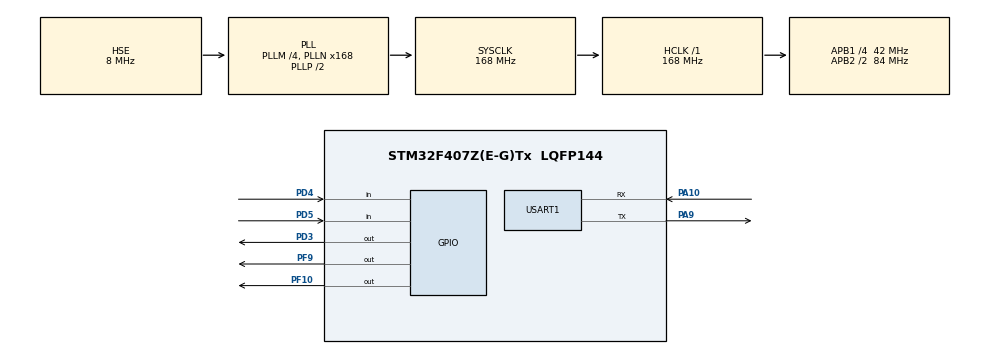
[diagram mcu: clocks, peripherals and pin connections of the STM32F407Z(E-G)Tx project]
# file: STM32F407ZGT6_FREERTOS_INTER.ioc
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FREERTOS.Tasks01=defaultTask,0,128,StartDefaultTask,Default,NULL,Dynamic,NULL,NULL
FREERTOS.configUSE_TIMERS=0
Mcu.Family=STM32F4
Mcu.Name=STM32F407Z(E-G)Tx
Mcu.Package=LQFP144
NVIC.PriorityGroup=NVIC_PRIORITYGROUP_4
NVIC.TIM7_IRQn=true\:15\:0\:false\:false\:true\:false\:false\:true\:true
NVIC.TIM8_TRG_COM_TIM14_IRQn=true\:1\:0\:true\:false\:true\:false\:true\:true\:true
NVIC.TIM8_UP_TIM13_IRQn=true\:5\:0\:true\:false\:true\:true\:true\:true\:true
NVIC.TimeBase=TIM7_IRQn
NVIC.TimeBaseIP=TIM7
PA10.Mode=Asynchronous
PA10.Signal=USART1_RX
PA13.Mode=Serial_Wire
PA13.Signal=SYS_JTMS-SWDIO
PA14.Mode=Serial_Wire
PA14.Signal=SYS_JTCK-SWCLK
PA9.Mode=Asynchronous
PA9.Signal=USART1_TX
PD3.Signal=GPIO_Output
PD4.GPIO_PuPd=GPIO_PULLUP
PD4.Signal=GPIO_Input
PD5.GPIO_PuPd=GPIO_PULLUP
PD5.Signal=GPIO_Input
PF10.Signal=GPIO_Output
PF9.Signal=GPIO_Output
PH0-OSC_IN.Mode=HSE-External-Oscillator
PH0-OSC_IN.Signal=RCC_OSC_IN
PH1-OSC_OUT.Mode=HSE-External-Oscillator
PH1-OSC_OUT.Signal=RCC_OSC_OUT
ProjectManager.HeapSize=0x200
ProjectManager.StackSize=0x400
ProjectManager.TargetToolchain=MDK-ARM V5.32
RCC.48MHZClocksFreq_Value=84000000
RCC.AHBFreq_Value=168000000
RCC.APB1CLKDivider=RCC_HCLK_DIV4
RCC.APB1Freq_Value=42000000
RCC.APB1TimFreq_Value=84000000
RCC.APB2CLKDivider=RCC_HCLK_DIV2
RCC.APB2Freq_Value=84000000
RCC.APB2TimFreq_Value=168000000
RCC.CortexFreq_Value=168000000
RCC.HCLKFreq_Value=168000000
RCC.HSE_VALUE=8000000
RCC.HSI_VALUE=16000000
RCC.LSE_VALUE=32768
RCC.PLLM=4
RCC.PLLN=168
RCC.PLLSourceVirtual=RCC_PLLSOURCE_HSE
RCC.SYSCLKFreq_VALUE=168000000
RCC.SYSCLKSource=RCC_SYSCLKSOURCE_PLLCLK
RCC.VCOOutputFreq_Value=336000000
TIM13.Period=9999
TIM13.Prescaler=8399
TIM14.Period=4999
TIM14.Prescaler=8399
USART1.VirtualMode=VM_ASYNC
VP_FREERTOS_VS_CMSIS_V1.Mode=CMSIS_V1
VP_SYS_VS_tim7.Mode=TIM7
VP_TIM13_VS_ClockSourceINT.Mode=Enable_Timer
VP_TIM14_VS_ClockSourceINT.Mode=Enable_Timer
board=custom

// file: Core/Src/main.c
/* USER CODE BEGIN Header */
/**
  ******************************************************************************
  * @file           : main.c
  * @brief          : Main program body
  ******************************************************************************
  * @attention
  *
  * Copyright (c) 2023 STMicroelectronics.
  * All rights reserved.
  *
  * This software is licensed under terms that can be found in the LICENSE file
  * in the root directory of this software component.
  * If no LICENSE file comes with this software, it is provided AS-IS.
  *
  ******************************************************************************
  */
/* USER CODE END Header */
#include "main.h"
#include "cmsis_os.h"
#include "tim.h"
#include "usart.h"
#include "gpio.h"

/* USER CODE BEGIN Includes */
#include "stdio.h"
/* USER CODE END Includes */

void SystemClock_Config(void);
void MX_FREERTOS_Init(void);

int main(void)
{

  /* MCU Configuration--------------------------------------------------------*/

  /* Reset of all peripherals, Initializes the Flash interface and the Systick. */
  HAL_Init();

  /* Configure the system clock */
  SystemClock_Config();

  /* Initialize all configured peripherals */
  MX_GPIO_Init();
  MX_TIM13_Init();
  MX_TIM14_Init();
  MX_USART1_UART_Init();

  /* Call init function for freertos objects (in freertos.c) */
  MX_FREERTOS_Init();

  /* Start scheduler */
  osKernelStart();

  /* We should never get here as control is now taken by the scheduler */
  /* Infinite loop */
  while (1)
  {

  }
}

void SystemClock_Config(void)
{
  RCC_OscInitTypeDef RCC_OscInitStruct = {0};
  RCC_ClkInitTypeDef RCC_ClkInitStruct = {0};

  /** Configure the main internal regulator output voltage
  */
  __HAL_RCC_PWR_CLK_ENABLE();
  __HAL_PWR_VOLTAGESCALING_CONFIG(PWR_REGULATOR_VOLTAGE_SCALE1);

  /** Initializes the RCC Oscillators according to the specified parameters
  * in the RCC_OscInitTypeDef structure.
  */
  RCC_OscInitStruct.OscillatorType = RCC_OSCILLATORTYPE_HSE;
  RCC_OscInitStruct.HSEState = RCC_HSE_ON;
  RCC_OscInitStruct.PLL.PLLState = RCC_PLL_ON;
  RCC_OscInitStruct.PLL.PLLSource = RCC_PLLSOURCE_HSE;
  RCC_OscInitStruct.PLL.PLLM = 4;
  RCC_OscInitStruct.PLL.PLLN = 168;
  RCC_OscInitStruct.PLL.PLLP = RCC_PLLP_DIV2;
  RCC_OscInitStruct.PLL.PLLQ = 4;
  if (HAL_RCC_OscConfig(&RCC_OscInitStruct) != HAL_OK)
  {
    Error_Handler();
  }

  /** Initializes the CPU, AHB and APB buses clocks
  */
  RCC_ClkInitStruct.ClockType = RCC_CLOCKTYPE_HCLK|RCC_CLOCKTYPE_SYSCLK
                              |RCC_CLOCKTYPE_PCLK1|RCC_CLOCKTYPE_PCLK2;
  RCC_ClkInitStruct.SYSCLKSource = RCC_SYSCLKSOURCE_PLLCLK;
  RCC_ClkInitStruct.AHBCLKDivider = RCC_SYSCLK_DIV1;
  RCC_ClkInitStruct.APB1CLKDivider = RCC_HCLK_DIV4;
  RCC_ClkInitStruct.APB2CLKDivider = RCC_HCLK_DIV2;

  if (HAL_RCC_ClockConfig(&RCC_ClkInitStruct, FLASH_LATENCY_5) != HAL_OK)
  {
    Error_Handler();
  }
}

void HAL_TIM_PeriodElapsedCallback(TIM_HandleTypeDef *htim)
{
  if (htim->Instance == TIM7) {
    HAL_IncTick();
  }
  /* USER CODE BEGIN Callback 1 */
  if(htim->Instance == TIM13)
  {
    printf("tim13\r\n");
    HAL_GPIO_TogglePin(GPIOF,GPIO_PIN_9);
  }
  if(htim->Instance == TIM14)
  {
    printf("tim14\r\n");
    HAL_GPIO_TogglePin(GPIOF,GPIO_PIN_10);
  }
  /* USER CODE END Callback 1 */
}

void Error_Handler(void)
{
  __disable_irq();
  while (1)
  {
  }
}

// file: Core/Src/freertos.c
/* USER CODE BEGIN Header */
/**
  ******************************************************************************
  * File Name          : freertos.c
  * Description        : Code for freertos applications
  ******************************************************************************
  * @attention
  *
  * Copyright (c) 2023 STMicroelectronics.
  * All rights reserved.
  *
  * This software is licensed under terms that can be found in the LICENSE file
  * in the root directory of this software component.
  * If no LICENSE file comes with this software, it is provided AS-IS.
  *
  ******************************************************************************
  */
/* USER CODE END Header */

#include "FreeRTOS.h"
#include "task.h"
#include "main.h"
#include "cmsis_os.h"

/* USER CODE BEGIN Includes */
#include "tim.h"
#include "stdio.h"
#include "usart.h"
/* USER CODE END Includes */

osThreadId defaultTaskHandle;

void StartDefaultTask(void const * argument);

void MX_FREERTOS_Init(void); /* (MISRA C 2004 rule 8.1) */

/* GetIdleTaskMemory prototype (linked to static allocation support) */
void vApplicationGetIdleTaskMemory( StaticTask_t **ppxIdleTaskTCBBuffer, StackType_t **ppxIdleTaskStackBuffer, uint32_t *pulIdleTaskStackSize );

/* USER CODE BEGIN GET_IDLE_TASK_MEMORY */
static StaticTask_t xIdleTaskTCBBuffer;
static StackType_t xIdleStack[configMINIMAL_STACK_SIZE];

void vApplicationGetIdleTaskMemory( StaticTask_t **ppxIdleTaskTCBBuffer, StackType_t **ppxIdleTaskStackBuffer, uint32_t *pulIdleTaskStackSize )
{
  *ppxIdleTaskTCBBuffer = &xIdleTaskTCBBuffer;
  *ppxIdleTaskStackBuffer = &xIdleStack[0];
  *pulIdleTaskStackSize = configMINIMAL_STACK_SIZE;
  /* place for user code */
}
/* USER CODE END GET_IDLE_TASK_MEMORY */

void MX_FREERTOS_Init(void) {

  /* Create the thread(s) */
  /* definition and creation of defaultTask */
  osThreadDef(defaultTask, StartDefaultTask, osPriorityNormal, 0, 128);
  defaultTaskHandle = osThreadCreate(osThread(defaultTask), NULL);

  /* USER CODE BEGIN RTOS_THREADS */
  HAL_TIM_Base_Start_IT(&htim13);
  HAL_TIM_Base_Start_IT(&htim14);
  /* add threads, ... */
  /* USER CODE END RTOS_THREADS */

}

void StartDefaultTask(void const * argument)
{
  /* USER CODE BEGIN StartDefaultTask */
  /* Infinite loop */
  for(;;)
  {
    if(HAL_GPIO_ReadPin(GPIOD,GPIO_PIN_4) == 0)
    {
      osDelay(10);
      if(HAL_GPIO_ReadPin(GPIOD,GPIO_PIN_4) == 0)
      {
        printf("key1 down\r\n");
        taskENTER_CRITICAL();//关中断 freertos的中断5~15,0~4不能关
      }
      while(HAL_GPIO_ReadPin(GPIOD,GPIO_PIN_4) == 0);
    }
    if(HAL_GPIO_ReadPin(GPIOD,GPIO_PIN_5) == 0)
    {
      osDelay(10);
      if(HAL_GPIO_ReadPin(GPIOD,GPIO_PIN_5) == 0)
      {
        printf("key2 down\r\n");
        taskEXIT_CRITICAL();//开中断
      }
      while(HAL_GPIO_ReadPin(GPIOD,GPIO_PIN_5) == 0);
    }
  }
  /* USER CODE END StartDefaultTask */
}

/* USER CODE BEGIN Application */
int fputc(int ch,FILE *f)
{
  HAL_UART_Transmit(&huart1,(uint8_t *)(&ch),sizeof(ch),HAL_MAX_DELAY);
  return ch;
}
/* USER CODE END Application */
